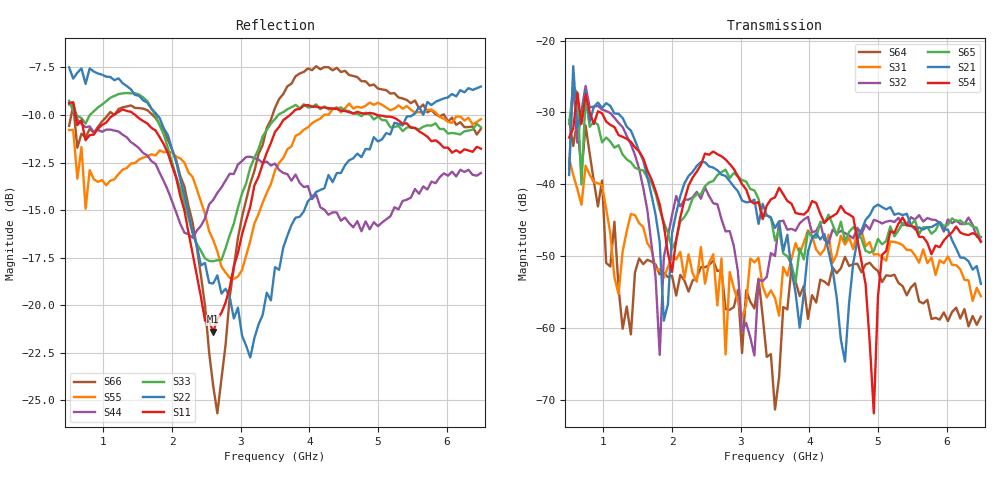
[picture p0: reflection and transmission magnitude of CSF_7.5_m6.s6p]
!Keysight Technologies,M9804A,MY58100912,A.14.10.03
!Date: Thursday, April 27, 2023 10:28:33
!Correction: S11(C  6-Port  )
!S12(C  6-Port  )
!S13(C  6-Port  )
!S14(C  6-Port  )
!S15(C  6-Port  )
!S16(C  6-Port  )
!S21(C  6-Port  )
!S22(C  6-Port  )
!S23(C  6-Port  )
!S24(C  6-Port  )
!S25(C  6-Port  )
!S26(C  6-Port  )
!S31(C  6-Port  )
!S32(C  6-Port  )
!S33(C  6-Port  )
!S34(C  6-Port  )
!S35(C  6-Port  )
!S36(C  6-Port  )
!S41(C  6-Port  )
!S42(C  6-Port  )
!S43(C  6-Port  )
!S44(C  6-Port  )
!S45(C  6-Port  )
!S46(C  6-Port  )
!S51(C  6-Port  )
!S52(C  6-Port  )
!S53(C  6-Port  )
!S54(C  6-Port  )
!S55(C  6-Port  )
!S56(C  6-Port  )
!S61(C  6-Port  )
!S62(C  6-Port  )
!S63(C  6-Port  )
!S64(C  6-Port  )
!S65(C  6-Port  )
!S66(C  6-Port  )
!S6P File: Measurement: :
# Hz S  RI  R 50
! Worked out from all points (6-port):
!   101 points, 500 MHz to 6.5 GHz, reference 50 ohm
!   strongest paths, dB at 500 MHz, 2 GHz, 3.5 GHz, 5 GHz, 6.5 GHz:
!     S54: -33.5, -52.2, -41.8, -55.7, -48.0
!     S21: -38.7, -46.8, -46.1, -42.8, -53.8
!     S65: -31.6, -49.0, -47.8, -47.6, -47.9
!     S32: -37.9, -44.3, -50.0, -45.1, -47.3
!     S31: -36.4, -50.0, -55.8, -49.7, -55.6
!     S64: -31.0, -52.7, -71.3, -52.1, -58.4
!   lowest |S11| = -21.4 dB at 2.6 GHz (marker M1), VSWR 1.19, Z = 42.5 + j2.28 ohm
!   |S11| at or under -10 dB: 593.4 MHz to 1.149 GHz (556.1 MHz wide, 63.8 % of centre); 1.464 GHz to 3.718 GHz (2.254 GHz wide, 87 % of centre); 4.988 GHz to end of sweep
